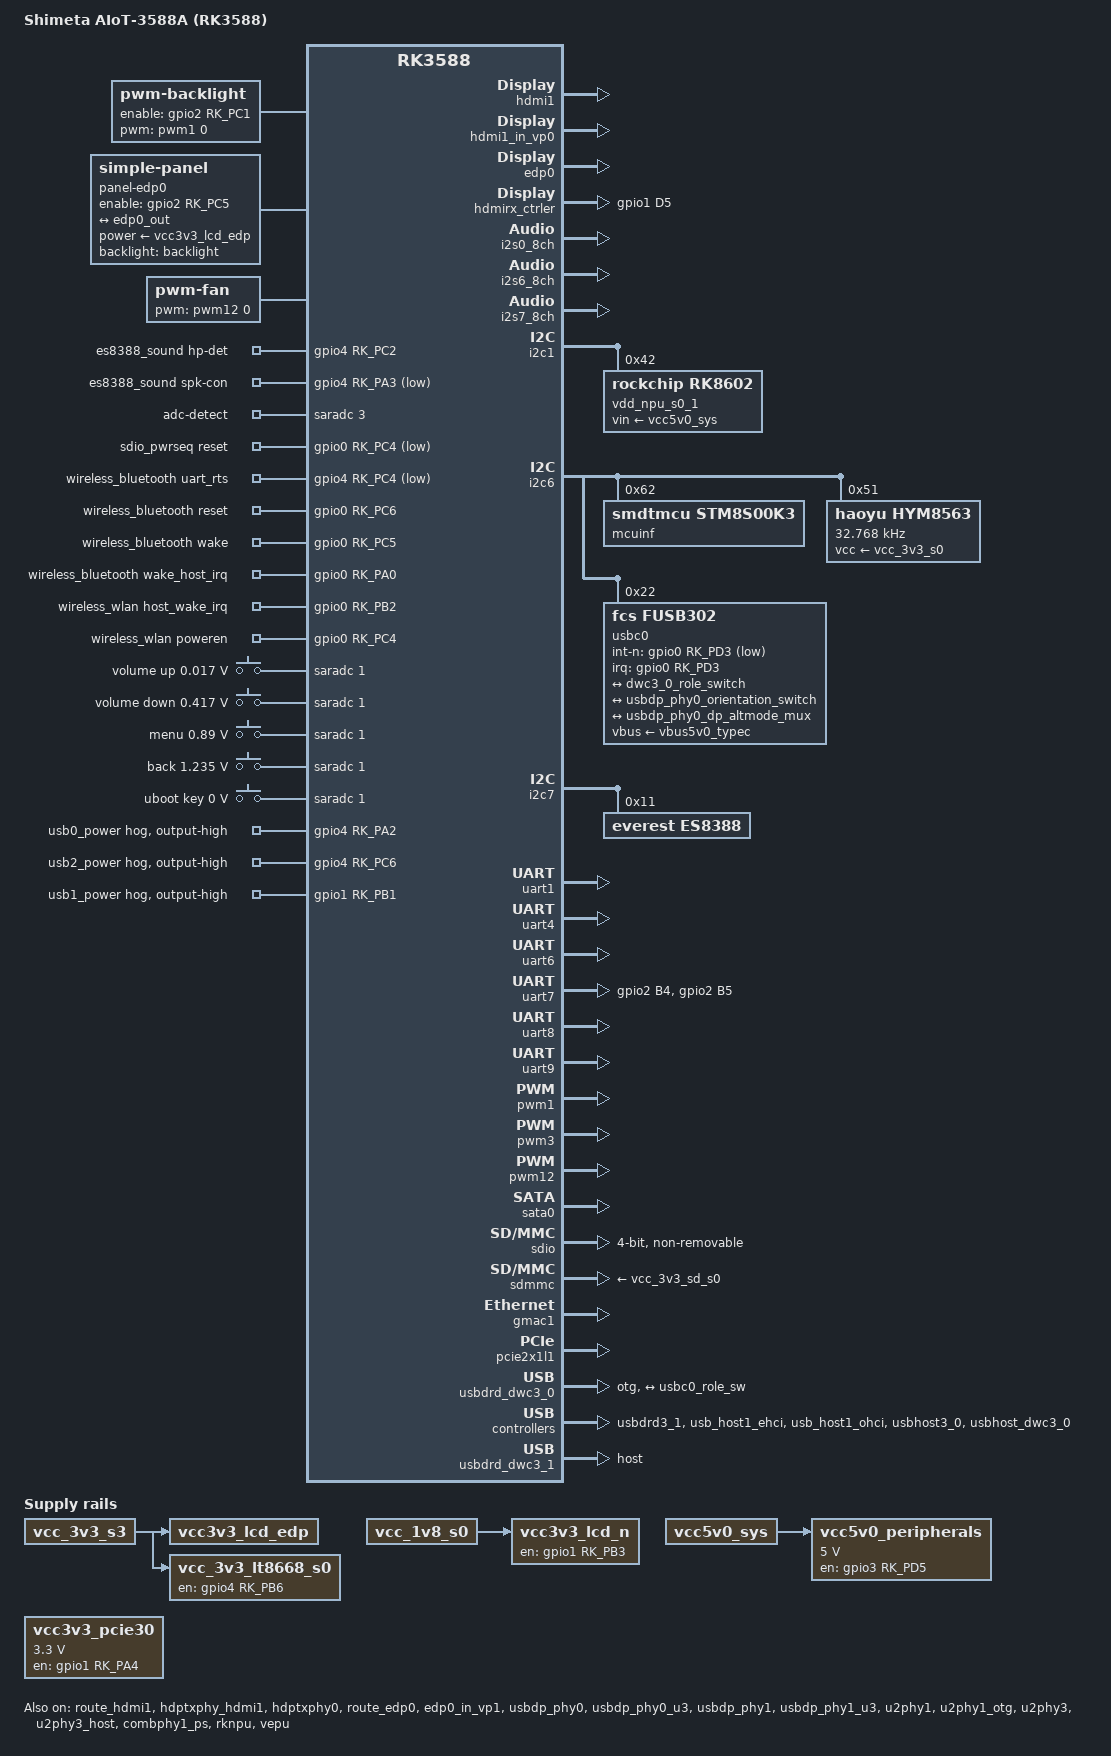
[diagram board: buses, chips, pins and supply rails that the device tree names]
// SPDX-License-Identifier: (GPL-2.0+ OR MIT)
/*
 * Copyright (c) 2022 FriendlyElec Computer Tech. Co., Ltd.
 * (http://www.friendlyelec.com)
 *
 * ============================================================================
 *  视美泰 AIOT-3588A（zeroT1）板级设备树
 * ============================================================================
 *
 * 底稿：FriendlyElec NanoPi6/NanoPC-T6 官方 DTS
 *   - rk3588-nanopi6-common.dtsi（与 rk3588-nanopi6-rev01.dts 共用的板级公共文件）
 *   - 写法完全仿照 rk3588-nanopi6-rev01.dts：include rk3588.dtsi + nanopi6-common.dtsi，
 *     然后只写「本板与 nanopi6 的差异」。
 *
 * 设计原则：
 *   1. 能用底稿直接继承的全部继承，不在本文件重复打开：
 *      GPU / VPU / NPU / RGA / JPEG / VENC / VDEC / AV1 / PMIC(RK806) / CPU 供电 /
 *      VOP / VP0-3 平面分配 / 互连(saradc,tsadc,wdt,dfi,dmc,rng,crypto) 等，
 *      一律沿用 rk3588-nanopi6-common.dtsi 的原始配置，保证 GPU/VPU/NPU 功能正常。
 *   2. 本文件只写差异，且优先用「改引脚 / 改 i2c / 改 pwm / 换 vp 节点 / 换 phy 节点」；
 *   3. 底稿里有、本板没有、必须关掉的节点，逐个在节点上方写「关闭理由」；
 *   4. 底稿没有、本板有的功能（eDP 屏、ES8388、5 路串口、风扇、背光、HDMI IN），
 *      按底稿风格补齐。
 *
 * ---------------------------------------------------------------------------
 *  与 nanopi6 底稿的差异总表
 * ---------------------------------------------------------------------------
 *  显示：
 *    - 本板是 1920x1080 eDP 屏：VP1 + hdptxphy0 + edp0 + simple-panel
 *      （nanopi6 底稿没有 eDP 屏，hdptxphy0 在底稿里是 status=disabled）
 *    - 本板 HDMI OUT 走 HDMI1（VP0 + hdptxphy_hdmi1，enable=GPIO4_A0）；
 *      底稿走 HDMI0（GPIO4_PB6 enable）→ HDMI0 必须禁用，理由见 &hdmi0 处
 *    - 背光：底稿 pwm_backlight 禁用；本板 PWM1 周期 20us + GPIO2_PC1 使能
 *  音频：
 *    - ES8388 声卡：i2c7 + i2s0_8ch，耳机检测 GPIO4_C2，功放使能 GPIO4_A3 低有效
 *    - HDMI IN 声卡：i2s7_8ch + hdmirx（底稿没有）
 *    - HDMI1 声卡：i2s6_8ch + hdmi1（底稿是 HDMI0 声卡）
 *  无线：
 *    - AP6256：BT 走 uart9（ttyS9）+ GPIO0_PC6 复位；WiFi 走 SDIO + sdio_pwrseq
 *      （与底稿同款模块，属性名沿用本 BSP 认的下划线写法）
 *  串口（本板 5 路，官方 2023/2024 固件一致）：
 *    - TTL-1 /dev/ttyS1 = uart1（uart1m1）
 *    - TTL-2 /dev/ttyS4 = uart4（uart4m0）
 *    - RS485 /dev/ttyS8 = uart8（uart8m0）
 *    - RS232-4 /dev/ttyS6 = uart6（uart6m1）
 *    - RS232-5 /dev/ttyS7 = uart7（uart7m0，6.1 dtsi 缺该引脚组，板级补）
 *  电源 / 外设：
 *    - NPU 电源：底稿在 i2c2，本板在 i2c1（内容相同，换总线）
 *    - RTC hym8563：底稿带 GPIO0_PB0 中断，本板中断未接 → 去掉中断
 *    - SD 卡电源使能：底稿 GPIO4_B4，本板 GPIO0_B7
 *    - USB-C VBUS 使能：底稿 GPIO1_D2（与 uart4 抢脚），本板 GPIO4_A1
 *    - 电池：底稿 simple_bat/simple_vin（nanopi6 电池 ADC），本板是假电池
 *      （内核 CONFIG_TEST_POWER），两颗都禁用，避免 ADC2 悬空读数串到电池框
 *  必须关闭的底稿节点（理由逐条写在节点旁）：
 *    - hdmi0 / hdmi0_in_vp0 / hdmi0_sound / hdptxphy_hdmi0 / route_hdmi0
 *    - pcie2x1l0 / pcie2x1l1 / pcie2x1l2 / pcie3x4 / pcie30phy
 *    - i2c2（NPU 电源已改 i2c1，且本板 i2c2 无器件）
 *    - i2c4 / i2c5（本板无 I2C 传感器/触摸屏，触摸是 USB ILITEK）
 *    - dsi0 / dsi1（本板无 MIPI 屏）
 * ============================================================================
 */

/dts-v1/;

#include <dt-bindings/usb/pd.h>
#include <dt-bindings/gpio/gpio.h>
#include <dt-bindings/pwm/pwm.h>
#include <dt-bindings/pinctrl/rockchip.h>
#include <dt-bindings/input/rk-input.h>
#include <dt-bindings/display/drm_mipi_dsi.h>
#include <dt-bindings/display/rockchip_vop.h>
#include <dt-bindings/sensor-dev.h>

#include "rk3588.dtsi"
#include "rk3588-nanopi6-common.dtsi"

/ {
	model = "Shimeta AIoT-3588A (RK3588)";
	/* 保留 evb7 兼容串：厂商用户态工具历史上按它识别板型，多列一条零成本。 */
	compatible = "rockchip,rk3588-aiot3588a", "rockchip,rk3588-evb7-lp4-v10", "rockchip,rk3588";

	chosen {
		/* earlycon/console 与 nanopi6 底稿一致：debug 串口 = uart2（ttyFIQ0）。
		 * 底稿的 bootargs_ext（root=/dev/mmcblk2p8 rw rootfstype=ext4）是 nanopi6
		 * 直接 eMMC rootfs 的写法；本板是 Android（super 分区 + dm-verity），root
		 * 由 u-boot 拼 androidboot.* 决定，这个属性留着反而可能把根分区指错，删掉。
		 */
		bootargs = "earlycon=uart8250,mmio32,0xfeb50000 console=ttyFIQ0 irqchip.gicv3_pseudo_nmi=0";
		/delete-property/ bootargs_ext;
	};

	/* ========================================================================
	 * 背光（nanopi6 底稿的 pwm_backlight 是 disabled 的，本板自建）
	 * PWM1 周期 20000ns：占空比上限压到 80%。原厂固件用 25000ns（100%），
	 * 亮度拉满会触发背光保护直接黑屏，实测降到 20000ns 后满亮度正常。
	 * ======================================================================== */
	backlight: backlight {
		compatible = "pwm-backlight";
		brightness-levels = <
			  0  20  20  21  21  22  22  23
			 23  24  24  25  25  26  26  27
			 27  28  28  29  29  30  30  31
			 31  32  32  33  33  34  34  35
			 35  36  36  37  37  38  38  39
			 40  41  42  43  44  45  46  47
			 48  49  50  51  52  53  54  55
			 56  57  58  59  60  61  62  63
			 64  65  66  67  68  69  70  71
			 72  73  74  75  76  77  78  79
			 80  81  82  83  84  85  86  87
			 88  89  90  91  92  93  94  95
			 96  97  98  99 100 101 102 103
			104 105 106 107 108 109 110 111
			112 113 114 115 116 117 118 119
			120 121 122 123 124 125 126 127
			128 129 130 131 132 133 134 135
			136 137 138 139 140 141 142 143
			144 145 146 147 148 149 150 151
			152 153 154 155 156 157 158 159
			160 161 162 163 164 165 166 167
			168 169 170 171 172 173 174 175
			176 177 178 179 180 181 182 183
			184 185 186 187 188 189 190 191
			192 193 194 195 196 197 198 199
			200 201 202 203 204 205 206 207
			208 209 210 211 212 213 214 215
			216 217 218 219 220 221 222 223
			224 225 226 227 228 229 230 231
			232 233 234 235 236 237 238 239
			240 241 242 243 244 245 246 247
			248 249 250 251 252 253 254 255
		>;
		default-brightness-level = <80>;
		backlight_delayms = <10>;
		pwms = <&pwm1 0 20000 0>;
		status = "okay";
		pinctrl-names = "default";
		pinctrl-0 = <&backlight_edp>;
		enable-gpios = <&gpio2 RK_PC1 GPIO_ACTIVE_HIGH>;
	};

	/* ========================================================================
	 * eDP 面板：1920x1080@60，139MHz
	 * 底稿没有这一段（nanopi6 用 HDMI / MIPI DSI）。
	 * panel-simple 驱动读 connector-type/bpc；缺省 connector_type=0 会
	 * fallback 成 DPI（DRM_MODE_CONNECTOR_eDP=14，旧底稿写的 15 是 VIRTUAL）。
	 * ======================================================================== */
	panel-edp0 {
		compatible = "simple-panel";
		connector-type = <14>;
		bpc = <8>;

		backlight = <&backlight>;
		power-supply = <&vcc3v3_lcd_edp>;
		enable-gpios = <&gpio2 RK_PC5 GPIO_ACTIVE_HIGH>;
		prepare-delay-ms = <120>;
		enable-delay-ms = <120>;
		unprepare-delay-ms = <120>;
		disable-delay-ms = <120>;
		width-mm = <129>;
		height-mm = <171>;

		panel-timing {
			clock-frequency = <139000000>;
			hactive = <1920>;
			vactive = <1080>;
			hfront-porch = <40>;
			hsync-len = <20>;
			hback-porch = <100>;
			vfront-porch = <12>;
			vsync-len = <4>;
			vback-porch = <15>;
			hsync-active = <0>;
			vsync-active = <0>;
			de-active = <0>;
			pixelclk-active = <0>;
		};

		port {
			panel_in_edp0: endpoint {
				remote-endpoint = <&edp0_out>;
			};
		};
	};

	/* ========================================================================
	 * 风扇：pwm-fan，PWM12 通道 1（GPIO4_B5），低电平有效。
	 * 底稿 rev01 的风扇用的是 pwm1（NanoPC-T6 接法），本板硬件是 pwm12，
	 * 与官方 2023/2024 AIOT-3588A DTB 反编译结果一致（pwm@febf0000）。
	 * cooling-levels 用官方固件的 0/102/170/230。
	 * ======================================================================== */
	fan: pwm-fan {
		compatible = "pwm-fan";
		#cooling-cells = <2>;
		pwms = <&pwm12 0 50000 PWM_POLARITY_INVERTED>;
		cooling-levels = <0 102 170 230>;
		rockchip,temp-trips = <
			50000	1
			55000	2
			60000	3
			65000	4
		>;
	};

	/* ========================================================================
	 * 音频 —— ES8388（耳机 + 功放喇叭）
	 * 底稿没有 ES8388（nanopi6 用 rt5616，且在 i2c7 上）。本板：
	 *   codec   : es8388@11（i2c7）
	 *   数据    : i2s0_8ch
	 *   耳机检测: GPIO4_C2 高有效 + SARADC3
	 *   功放使能: GPIO4_A3 低有效（写反 = 喇叭常静音，实机验证过）
	 * ======================================================================== */
	es8388_sound: es8388-sound {
		status = "okay";
		compatible = "rockchip,multicodecs-card";
		rockchip,card-name = "rockchip-es8388";
		hp-det-gpio = <&gpio4 RK_PC2 GPIO_ACTIVE_HIGH>;
		io-channels = <&saradc 3>;
		io-channel-names = "adc-detect";
		keyup-threshold-microvolt = <1800000>;
		poll-interval = <100>;
		spk-con-gpio = <&gpio4 RK_PA3 GPIO_ACTIVE_LOW>;
		rockchip,pre-power-on-delay-ms = <30>;
		rockchip,post-power-down-delay-ms = <40>;
		rockchip,format = "i2s";
		rockchip,mclk-fs = <256>;
		rockchip,cpu = <&i2s0_8ch>;
		rockchip,codec = <&es8388>;
		rockchip,audio-routing =
			"Headphone", "LOUT1",
			"Headphone", "ROUT1",
			"Speaker", "LOUT2",
			"Speaker", "ROUT2",
			"Headphone", "Headphone Power",
			"Headphone", "Headphone Power",
			"Speaker", "Speaker Power",
			"Speaker", "Speaker Power",
			"LINPUT1", "Main Mic",
			"LINPUT2", "Main Mic",
			"RINPUT1", "Headset Mic",
			"RINPUT2", "Headset Mic";
		pinctrl-names = "default";
		pinctrl-0 = <&hp_det>;
		play-pause-key {
			label = "playpause";
			linux,code = <KEY_PLAYPAUSE>;
			press-threshold-microvolt = <2000>;
		};
	};

	/* ========================================================================
	 * 音频 —— HDMI IN（采集）
	 * 用 6.1 的 rockchip,hdmi machine 驱动（不是底稿的 simple-audio-card）：
	 * codec 直接是 hdmirx 的 DAI，能拿到 ELD / 实时采样率 / 插拔事件，
	 * 且采集方向能正确设上 mclk_rx。
	 * ======================================================================== */
	hdmiin-sound {
		compatible = "rockchip,hdmi";
		rockchip,mclk-fs = <128>;
		rockchip,format = "i2s";
		rockchip,bitclock-master = <&hdmirx_ctrler>;
		rockchip,frame-master = <&hdmirx_ctrler>;
		rockchip,card-name = "rockchip,hdmiin";
		rockchip,cpu = <&i2s7_8ch>;
		rockchip,codec = <&hdmirx_ctrler 0>;
		rockchip,jack-det;
	};

	/* ========================================================================
	 * 音频 —— HDMI1 输出（播放）
	 * 底稿的 hdmi0_sound 用 i2s5_8ch + hdmi0；本板 HDMI0 禁用，改 HDMI1 + i2s6_8ch。
	 * ======================================================================== */
	hdmi1_sound: hdmi1-sound {
		status = "okay";
		compatible = "rockchip,hdmi";
		rockchip,mclk-fs = <128>;
		rockchip,card-name = "rockchip-hdmi1";
		rockchip,cpu = <&i2s6_8ch>;
		rockchip,codec = <&hdmi1>;
		rockchip,jack-det;
	};

	/* ========================================================================
	 * 无线 —— SDIO WiFi 上电时序（与 nanopi6 同款 AP6256 模块）
	 * ======================================================================== */
	sdio_pwrseq: sdio-pwrseq {
		compatible = "mmc-pwrseq-simple";
		clocks = <&hym8563>;
		clock-names = "ext_clock";
		pinctrl-names = "default";
		pinctrl-0 = <&wifi_enable_h>;
		post-power-on-delay-ms = <200>;
		reset-gpios = <&gpio0 RK_PC4 GPIO_ACTIVE_LOW>;
	};

	/* ========================================================================
	 * 无线 —— 蓝牙（AP6256）
	 * 属性名必须是下划线形式（BT,reset_gpio / BT,wake_gpio / BT,wake_host_irq /
	 * uart_rts_gpios）：本 BSP 的 net/rfkill/rfkill-bt.c 只认这套老名字，
	 * 写成 mainline 的 "-gpios" 会被静默忽略，表现是蓝牙上不了电、唤醒失效。
	 *
	 * ★ 蓝牙 UART = uart9（/dev/ttyS9，pinctrl uart9m0）。
	 *   之前 ttyS9 不出现的根因不是 uart9 没开，而是底稿带进来的
	 *   vcc_mipidcphy0 稳压器把 GPIO2_C4（uart9m0_rx）当使能脚抢走了，
	 *   证据 dmesg: pin gpio2-20 already requested by vcc-mipidcphy0-regulator。
	 *   本次重构不再定义那颗稳压器（见本文件末尾"删除底稿多余 regulator"说明）。
	 * ======================================================================== */
	wireless_bluetooth: wireless-bluetooth {
		compatible = "bluetooth-platdata";
		clocks = <&hym8563>;
		clock-names = "ext_clock";
		uart_rts_gpios = <&gpio4 RK_PC4 GPIO_ACTIVE_LOW>;
		pinctrl-names = "default", "rts_gpio";
		pinctrl-0 = <&uart9m0_rtsn>, <&bt_reset_gpio>, <&bt_wake_gpio>, <&bt_irq_gpio>;
		pinctrl-1 = <&uart9_gpios>;
		BT,reset_gpio = <&gpio0 RK_PC6 GPIO_ACTIVE_HIGH>;
		BT,wake_gpio = <&gpio0 RK_PC5 GPIO_ACTIVE_HIGH>;
		BT,wake_host_irq = <&gpio0 RK_PA0 GPIO_ACTIVE_HIGH>;
		status = "okay";
	};

	wireless_wlan: wireless-wlan {
		compatible = "wlan-platdata";
		wifi_chip_type = "ap6398s";
		pinctrl-names = "default";
		pinctrl-0 = <&wifi_host_wake_irq>;
		WIFI,host_wake_irq = <&gpio0 RK_PB2 GPIO_ACTIVE_HIGH>;
		WIFI,poweren_gpio = <&gpio0 RK_PC4 GPIO_ACTIVE_HIGH>;
		status = "okay";
	};

	/* ========================================================================
	 * 按键 —— 板载五键走 SARADC 通道 1（电阻分压），不是 GPIO 按键。
	 * nanoPC-T6 底稿没有这段（NanoPC-T6 的按键是 GPIO 直连），照抄会丢键。
	 * ======================================================================== */
	adc_keys: adc-keys {
		compatible = "adc-keys";
		io-channels = <&saradc 1>;
		io-channel-names = "buttons";
		keyup-threshold-microvolt = <1800000>;
		poll-interval = <100>;
		status = "okay";

		vol-up-key {
			label = "volume up";
			linux,code = <KEY_VOLUMEUP>;
			press-threshold-microvolt = <17000>;
		};

		vol-down-key {
			label = "volume down";
			linux,code = <KEY_VOLUMEDOWN>;
			press-threshold-microvolt = <417000>;
		};

		menu-key {
			label = "menu";
			linux,code = <KEY_MENU>;
			press-threshold-microvolt = <890000>;
		};

		back-key {
			label = "back";
			linux,code = <KEY_BACK>;
			press-threshold-microvolt = <1235000>;
		};

		uboot-key {
			label = "uboot key";
			linux,code = <KEY_VOLUMEUP>;
			press-threshold-microvolt = <1>;
		};
	};

	/* ========================================================================
	 * 指示灯 —— 本板只有一颗双色 LED，接 GPIO4_A5（高=蓝，低=红）。
	 * 内核不接管，留给 GPIO_LED_Demo 从用户态 /sys/class/gpio 导出（sys=4*32+5=133）。
	 * 要恢复内核心跳灯把 status 改回 "okay" 即可。
	 * ======================================================================== */
	gpio_leds: gpio-leds {
		compatible = "gpio-leds";
		status = "disabled";

		work_led: work_led {
			linux,default-trigger = "heartbeat";
			gpios = <&gpio4 RK_PA5 GPIO_ACTIVE_HIGH>;
		};
	};

	/* ========================================================================
	 * 其它固定稳压器
	 * ======================================================================== */

	/* eDP 屏 3.3V */
	vcc3v3_lcd_edp: vcc3v3-lcd-edp {
		compatible = "regulator-fixed";
		regulator-name = "vcc3v3_lcd_edp";
		enable-active-high;
		regulator-boot-on;
		vin-supply = <&vcc_3v3_s3>;
	};

	/* PCIe 3.0 3.3V 电源。
	 * 本板无 PCIe 设备，但 r15 自包含 dts 一直带着这颗 regulator（从 nanopi6
	 * 底稿继承），其 GPIO1_A4 使能脚在 u-boot 扫描 kernel dtb 时会被 probe 并
	 * request。补回该节点做对照实验：验证重构版 eDP AUX 失败是否与这颗
	 * regulator 的 GPIO 初始化有关。
	 */
	vcc3v3_pcie30: vcc3v3-pcie30 {
		compatible = "regulator-fixed";
		regulator-name = "vcc3v3_pcie30";
		regulator-min-microvolt = <3300000>;
		regulator-max-microvolt = <3300000>;
		enable-active-high;
		gpios = <&gpio1 RK_PA4 GPIO_ACTIVE_HIGH>;
		startup-delay-us = <5000>;
	};

	/* LCD / eDP 面板 3.3V 使能：GPIO1_B3。
	 * 旧版自包含 dts 一直带着这个节点（抄 nanopi6 底稿的 vcc3v3-lcd0-n），
	 * 以 r15 为基准重构时被漏掉；少了它 GPIO1_B3 无人拉高，实测 eDP
	 * detect 时 AUX 读 DPCD 失败（failed to read max link rate）。
	 * 本板该脚为面板 3.3V load-switch 使能，保持 regulator-boot-on 以复现 r15 时序。
	 */
	vcc3v3_lcd_n: vcc3v3-lcd0-n {
		compatible = "regulator-fixed";
		regulator-name = "vcc3v3_lcd0_n";
		regulator-boot-on;
		enable-active-high;
		gpio = <&gpio1 RK_PB3 GPIO_ACTIVE_HIGH>;
		vin-supply = <&vcc_1v8_s0>;
	};

	/* 外设 5V（USB host、HDMI IN 等），使能 GPIO3_D5 */
	vcc5v0_peripherals: vcc5v0-peripherals {
		compatible = "regulator-fixed";
		regulator-name = "vcc5v0_peripherals";
		/* 旧版（eDP 正常）带 boot-on/always-on，重构时漏了这两个属性：
		 * GPIO3_D5 因此保持低电平，5V 外设电源被关断 —— USB 蜂鸣器不响、
		 * eDP 面板侧 5V 缺失导致 AUX 无应答，均由此引起。 */
		regulator-boot-on;
		regulator-always-on;
		regulator-min-microvolt = <5000000>;
		regulator-max-microvolt = <5000000>;
		enable-active-high;
		gpio = <&gpio3 RK_PD5 GPIO_ACTIVE_HIGH>;
		vin-supply = <&vcc5v0_sys>;
		pinctrl-names = "default";
		pinctrl-0 = <&vcc5v0_peripherals_en>;
	};

	/* LT8668（HDMI 转换芯片）3.3V，使能 GPIO4_PB6，常开 */
	vcc_3v3_lt8668_s0: vcc-3v3-lt8668-s0 {
		compatible = "regulator-fixed";
		regulator-name = "vcc_3v3_lt8668_s0";
		pinctrl-names = "default";
		pinctrl-0 = <&lt8668_pwr>;
		gpio = <&gpio4 RK_PB6 GPIO_ACTIVE_HIGH>;
		enable-active-high;
		regulator-boot-on;
		regulator-always-on;
		vin-supply = <&vcc_3v3_s3>;
	};
};

/* ============================================================================
 * 显示子系统
 * ----------------------------------------------------------------------------
 * 底稿的 display_subsystem clocks 指向 hdptxphy_hdmi0；本板 HDMI0 禁用、
 * HDMI1 启用，所以只保留 HDMI1 的 PHY PLL。
 * ============================================================================ */
&display_subsystem {
	/* 底稿 common.dtsi 给 display_subsystem 挂了 clocks=<&hdptxphy_hdmi0>（hdmi0_phy_pll）。
	 * 本板 HDMI0 禁用、HDMI1 改用 hdptxphy_hdmi1，但 r16 实测保留该项后 eDP 屏黑屏
	 * （fdec0000.edp: failed to read max link rate），r15 无此属性则正常，故整个删除。 */
	/delete-property/ clocks;
	/delete-property/ clock-names;
};

/* ============================================================================
 * HDMI 0 —— 关闭。
 * 理由（实测）：
 *   1) 本板 HDMI OUT 只有一路，物理接口走 HDMI1（对应 enable 脚 GPIO4_A0，
 *      官方 2023/2024 AIOT-3588A DTB 反编译也是 route-hdmi1 okay + route-hdmi0
 *      disabled）；
 *   2) 更关键：HDMI0 的 PHY 是 hdptxphy_hdmi0（hdmiphy@fed60000），
 *      与 eDP 用的 hdptxphy0（phy@fed60000）是同一颗 PHY 的两种工作模式，
 *      本板必须留给 eDP，两个节点同时 status=okay 会互相抢 PHY，eDP 黑屏。
 * ============================================================================ */
&hdmi0 {
	status = "disabled";
};

&hdmi0_in_vp0 {
	status = "disabled";
};

&hdmi0_sound {
	status = "disabled";
};

&hdptxphy_hdmi0 {
	status = "disabled";
};

&route_hdmi0 {
	status = "disabled";
};

/* ============================================================================
 * HDMI 1 —— 本板唯一的 HDMI OUT
 * VP0 + hdptxphy_hdmi1 + i2s6_8ch（音频见顶层 hdmi1_sound）
 * ============================================================================ */
&hdmi1 {
	enable-gpios = <&gpio4 RK_PA0 GPIO_ACTIVE_HIGH>;
	status = "okay";
};

&hdmi1_in_vp0 {
	status = "okay";
};

&route_hdmi1 {
	status = "okay";
	connect = <&vp0_out_hdmi1>;
};

&hdptxphy_hdmi1 {
	status = "okay";
};

/* ============================================================================
 * eDP 输出
 * ----------------------------------------------------------------------------
 * 1) phys / phy-names 不要覆盖：rk3588s.dtsi 已给 phys = <&hdptxphy0>, phy-names = "dp"。
 *    底稿写成 <&combphy2_psu PHY_TYPE_DP> 是错的，combphy2_psu 已被 usbhost3_0 当
 *    USB3 用，两处抢同一颗 PHY 会让其中一路 probe 失败。
 * 2) 不要自建 port@2 { reg = <1> }：dtsi 里已有 port@1 { reg = <1>; edp0_out: endpoint{} }，
 *    出现两个 (port=1, ep=0) 端点会让 drm_of_find_panel_or_bridge(..., 1, 0, ...) 先命中
 *    空端点 → -ENODEV → 面板拿不到 → 黑屏。正确做法是给已有的 edp0_out 补 remote-endpoint。
 * 3) force-hpd：面板是焊死的 eDP 屏，没有 HPD 引脚，必须强制当作已插入。
 * 4) ★ 黑屏根因：rk3588s.dtsi 的 hdptxphy0(phy@fed60000) 默认 status="disabled"，
 *    而 edp0 的 phys=<&hdptxphy0>。PHY 不 probe ⇒ analogix_dp 的 devm_phy_get(dev,"dp")
 *    返回 -EPROBE_DEFER ⇒ "rockchip-dp fdec0000.edp: no DP phy configured" 永久 deferred
 *    ⇒ 屏幕全黑。所以下面必须把 hdptxphy0 打开（底稿里它是 disabled + 带 training-table）。
 * 5) VP 分配：eDP → VP1（route.connect = vp1_out_edp0），HDMI1 → VP0。
 * ============================================================================ */
&hdptxphy0 {
	/* 底稿 common.dtsi 给 hdptxphy0 带了一份 training-table（HDMI 模式的 tx_drv_ctrl 表），
	 * 本板 eDP 屏不需要它；且 r16 实测它对 eDP AUX 链路有副作用（报告 failed to read
	 * max link rate → disconnected），这里删掉，恢复到 r15 的干净状态。 */
	/delete-property/ training-table;
	status = "okay";
};

&edp0 {
	force-hpd;
	status = "okay";
};

&edp0_out {
	remote-endpoint = <&panel_in_edp0>;
};

&route_edp0 {
	status = "okay";
	connect = <&vp1_out_edp0>;
};

&edp0_in_vp0 {
	status = "disabled";
};

&edp0_in_vp1 {
	status = "okay";
};

/* eDP1 不用（本板只有一路 eDP），dtsi 默认 disabled，显式写出来便于查找 */
&edp1 {
	status = "disabled";
};

/* ============================================================================
 * HDMI IN
 * ============================================================================ */
&hdmirx_ctrler {
	status = "okay";
	#sound-dai-cells = <1>;
	edid-version = <3>;
	hpd-trigger-level = <1>;
	hdmirx-det-gpios = <&gpio1 RK_PD5 GPIO_ACTIVE_LOW>;
	pinctrl-names = "default";
	pinctrl-0 = <&hdmim1_rx &hdmirx_det>;
};

/* ============================================================================
 * 音频 I2S
 * ============================================================================ */
&i2s0_8ch {
	status = "okay";
	pinctrl-names = "default";
	pinctrl-0 = <&i2s0_lrck &i2s0_sclk &i2s0_sdi0 &i2s0_sdo0>;
};

/* HDMI1 播放（i2s6_8ch 在 rk3588.dtsi 里默认 disabled） */
&i2s6_8ch {
	status = "okay";
};

/* HDMI IN 采集（i2s7_8ch，capture-only） */
&i2s7_8ch {
	status = "okay";
};

/* 底稿的 hdmi0_sound 用 i2s5_8ch；HDMI0 已禁用，i2s5 一并关掉 */
&i2s5_8ch {
	status = "disabled";
};

/* ============================================================================
 * I2C 总线
 * ============================================================================ */

/* i2c2 —— 关闭。
 * 理由：底稿把 NPU 电源 rk8602 挂在 i2c2（pinctrl i2c2m0_xfer），本板同一颗
 * rk8602 在 i2c1（pinctrl i2c1m2_xfer，见 &i2c1）—— 这是纯引脚/总线差异，
 * 电源芯片内容和电压范围完全相同。本板 i2c2 上没有其它器件，
 * 底稿那个 rk8602 节点保持 disabled 不 probe（也不占 i2c2 引脚）。
 */
&i2c2 {
	status = "disabled";
};

/* i2c1 —— NPU 电源（vdd_npu_s0 / vdd_npu_mem_s0）
 * 底稿在 i2c2 上，本板在 i2c1，内容与底稿 rk8602@42 完全一致：
 * 550-950mV、ramp 2300、suspend-voltage-selector 1。
 * 为了让 GPU/VPU/NPU 正常工作，这里必须真正 probe 成功（rknpu 的 supply 依赖它）。
 */
&i2c1 {
	status = "okay";
	pinctrl-names = "default";
	pinctrl-0 = <&i2c1m2_xfer>;

	vdd_npu_s0_1: vdd_npu_mem_s0_1: rk8602@42 {
		compatible = "rockchip,rk8602";
		reg = <0x42>;
		vin-supply = <&vcc5v0_sys>;
		regulator-compatible = "rk860x-reg";
		regulator-name = "vdd_npu_s0";
		regulator-min-microvolt = <550000>;
		regulator-max-microvolt = <950000>;
		regulator-ramp-delay = <2300>;
		rockchip,suspend-voltage-selector = <1>;
		regulator-boot-on;
		regulator-always-on;
		regulator-state-mem {
			regulator-off-in-suspend;
		};
	};
};

/* i2c4 —— 保持底稿的 disabled。
 * 理由：底稿在这条总线上挂了 MIPI 屏的触摸/光感/IMU（stk3332、icm42607），
 * 本板没有这些器件；而且 i2c4m1_xfer 的 GPIO4_C2 与耳机检测脚冲突
 * （官方 2023/2024 AIOT-3588A DTB 里 i2c4 也是 disabled）。
 */

/* i2c5 —— 保持底稿的 disabled。
 * 理由：底稿这里是 MIPI 屏的 goodix/hynitron I2C 触摸；本板触摸屏是 USB
 * ILITEK（/proc/bus/input/devices 里 ILITEK-TP），不需要 I2C 触摸。
 */

/* i2c6 —— RTC(hym8563) + 视美泰 MCU(mcuinf) + USB-C(fusb302)
 * 与底稿的差异：
 *   1) dtsi 的 i2c6 带 resets，本板实测复位后器件不响应，删除 resets；
 *   2) 底稿 hym8563 带 GPIO0_PB0 中断，本板 RTC 中断脚未接 → 去掉；
 *   3) 追加 mcuinf@62（视美泰 STM8 MCU）和 fusb302@22（USB-C 控制器）。
 */
&i2c6 {
	status = "okay";

	/delete-property/ resets;
	/delete-property/ reset-names;
	pinctrl-names = "default";
	pinctrl-0 = <&i2c6m0_xfer>;

	mcuinf: mcuinf@62 {
		compatible = "smdtmcu,STM8S00K3";
		status = "okay";
		reg = <0x62>;
		#pwm-cells = <2>;
	};

	/* 底稿 hym8563 带 pinctrl-0=<&rtc_int> + interrupt GPIO0_PB0；
	 * 本板 RTC 中断未接，去掉中断相关属性（label hym8563 由底稿定义，这里沿用）。 */
	hym8563@51 {
		compatible = "haoyu,hym8563";
		reg = <0x51>;
		#clock-cells = <0>;
		clock-frequency = <32768>;
		clock-output-names = "hym8563";
		/delete-property/ pinctrl-names;
		/delete-property/ pinctrl-0;
		/delete-property/ interrupt-parent;
		/delete-property/ interrupts;
		wakeup-source;
		vcc-supply = <&vcc_3v3_s0>;
	};

	/* PCA9555 只在 REV1.3 上贴片，本板没有 */
	pca9555: pca9555@20 {
		reg = <0x20>;
		compatible = "nxp,pca9555";
		status = "disabled";
		gpio-controller;
		vcc-supply = <&vcc_3v3_s0>;
		#gpio-cells = <2>;
	};

	usbc0: fusb302@22 {
		compatible = "fcs,fusb302";
		reg = <0x22>;
		interrupt-parent = <&gpio0>;
		interrupts = <RK_PD3 IRQ_TYPE_EDGE_FALLING>;
		int-n-gpios = <&gpio0 RK_PD3 GPIO_ACTIVE_LOW>;
		pinctrl-names = "default";
		pinctrl-0 = <&usbc0_int>;
		vbus-supply = <&vbus5v0_typec>;
		status = "okay";

		ports {
			#address-cells = <1>;
			#size-cells = <0>;

			port@0 {
				reg = <0>;
				usbc0_role_sw: endpoint@0 {
					remote-endpoint = <&dwc3_0_role_switch>;
				};
			};
		};

		usb_con: connector {
			compatible = "usb-c-connector";
			label = "USB-C";
			data-role = "dual";
			power-role = "dual";
			try-power-role = "sink";
			op-sink-microwatt = <1000000>;
			sink-pdos =
				<PDO_FIXED(5000, 3000, PDO_FIXED_USB_COMM)>;
			source-pdos =
				<PDO_FIXED(5000, 2000, PDO_FIXED_USB_COMM)>;

			altmodes {
				#address-cells = <1>;
				#size-cells = <0>;

				altmode@0 {
					reg = <0>;
					svid = <0xff01>;
					vdo = <0xffffffff>;
				};
			};

			ports {
				#address-cells = <1>;
				#size-cells = <0>;

				port@0 {
					reg = <0>;
					usbc0_orien_sw: endpoint {
						remote-endpoint = <&usbdp_phy0_orientation_switch>;
					};
				};

				port@1 {
					reg = <1>;
					dp_altmode_mux: endpoint {
						remote-endpoint = <&usbdp_phy0_dp_altmode_mux>;
					};
				};
			};
		};
	};
};

/* i2c7 —— ES8388 codec（底稿 i2c7 是 disabled 的 rt5616，本板启用 ES8388）
 * MCLK 用 rk3588s.dtsi 自带的 mclkout_i2s0（mclkout-i2s0@fd58c318，
 * compatible "rockchip,clk-out"，带 rockchip,bit-set-to-disable）。
 * 注意：MCLK 除了 CRU 门控，还有 SYS_GRF 的 to_io 栅极，这个节点就是干这个的，
 * 底稿原来的 clocks=<&cru I2S0_8CH_MCLKOUT> 写法 MCLK 到不了 codec（实测无声）。
 */
&i2c7 {
	status = "okay";
	pinctrl-names = "default";
	pinctrl-0 = <&i2c7m0_xfer>;

	es8388: es8388@11 {
		compatible = "everest,es8388", "everest,es8323";
		reg = <0x11>;
		clocks = <&mclkout_i2s0>;
		clock-names = "mclk";
		assigned-clocks = <&mclkout_i2s0>;
		assigned-clock-rates = <12288000>;
		pinctrl-names = "default";
		pinctrl-0 = <&i2s0_mclk>;
	};
};

/* i2c8 —— 保持底稿的 disabled（本板无器件） */

/* ============================================================================
 * 串口
 * ----------------------------------------------------------------------------
 * 硬件规格书 3.2.13 RS232 / 3.2.14 TTL / 3.2.15 RS485：
 *   序号1 TTL 串口-1 = /dev/ttyS1 = uart1（uart1m1: GPIO1_B6/RX, GPIO1_B7/TX）
 *   序号2 TTL 串口-2 = /dev/ttyS4 = uart4（uart4m0: GPIO1_D2/RX, GPIO1_D3/TX）
 *   序号3 RS485-3    = /dev/ttyS8 = uart8（uart8m0: GPIO4_B0/TX, GPIO4_B1/RX）
 *   序号4 RS232-4    = /dev/ttyS6 = uart6（uart6m1: GPIO1_A0/RX, GPIO1_A1/TX）
 *   序号5 RS232-5    = /dev/ttyS7 = uart7（uart7m0: GPIO2_B4/RX, GPIO2_B5/TX）
 *   蓝牙             = /dev/ttyS9 = uart9（uart9m0）
 * 官方 2023 / 2024 两版固件都启用这 6 路；底稿（nanopi6）只开了 uart6 等少数几路。
 * ★ 注意与 uart 抢脚的"假外设"：底稿带进来的 vcc_mipicsi0/vcc_mipicsi1
 *   （GPIO1_D2 / GPIO1_D3）和 vcc_mipidcphy0（GPIO2_C4）会 request uart4/uart9
 *   的引脚，导致 ttyS4/ttyS9 消失。本次重构不再定义这三颗稳压器。
 * ============================================================================ */
&uart1 {
	status = "okay";
	pinctrl-names = "default";
	pinctrl-0 = <&uart1m1_xfer>;
};

&uart4 {
	status = "okay";
	pinctrl-names = "default";
	pinctrl-0 = <&uart4m0_xfer>;
};

&uart6 {
	status = "okay";
	pinctrl-names = "default";
	pinctrl-0 = <&uart6m1_xfer>;
};

&uart7 {
	status = "okay";
	pinctrl-names = "default";
	pinctrl-0 = <&uart7m0_xfer>;
};

&uart8 {
	status = "okay";
	pinctrl-names = "default";
	pinctrl-0 = <&uart8m0_xfer>;
};

&uart9 {
	status = "okay";
	pinctrl-names = "default";
	pinctrl-0 = <&uart9m0_xfer &uart9m0_ctsn>;
};

/* ============================================================================
 * PWM
 * ============================================================================ */

/* PWM1 —— 背光（见顶层 backlight） */
&pwm1 {
	status = "okay";
};

/* PWM3 —— 红外遥控接收（remotectl-pwm）
 * 底稿（nanopi6）用 pwm3m0_pins + usercode 0xc43b，本板遥控器是
 * pwm3m3_pins + usercode 0xff00，键表按实机遥控器实测翻译。
 */
&pwm3 {
	compatible = "rockchip,remotectl-pwm";
	pinctrl-names = "default";
	pinctrl-0 = <&pwm3m3_pins>;
	status = "okay";
	remote_pwm_id = <3>;
	handle_cpu_id = <1>;
	remote_support_psci = <0>;

	ir_key1 {
		rockchip,usercode = <0xff00>;
		rockchip,key_table =
			<0xf0 0x74>, <0xad 0x66>, <0xef 0x8b>, <0xa7 0x71>,
			<0xa3 0x73>, <0xab 0x72>, <0xac 0x9e>, <0xa4 0xe8>,
			<0xb2 0x67>, <0xa5 0x6c>, <0xa8 0x69>, <0xa0 0x6a>,
			<0xa1 0xf0>, <0xa9 0x0f>, <0xee 0x68>, <0xed 0x6d>,
			<0xe8 0x02>, <0xe4 0x03>, <0xe0 0x04>, <0xe9 0x05>,
			<0xe5 0x06>, <0xe1 0x07>, <0xea 0x08>, <0xe6 0x09>,
			<0xe2 0x0a>, <0xe7 0x0b>, <0xeb 0x34>, <0xe3 0x6f>,
			<0xa6 0x77>, <0xaa 0xcf>, <0xec 0x1a2>, <0xaf 0x1a3>;
	};
};

/* PWM12 —— 风扇（见顶层 fan）
 * pinctrl-names 必须写 "active"：kernel-6.1/drivers/pwm/pwm-rockchip.c:2443
 * 用 pinctrl_lookup_state(pc->pinctrl, "active") 取引脚状态，取不到就
 * dev_err "No active pinctrl state" 并 probe 失败（pwm-fan 随即一直 deferred）。
 * dtsi 的 pwm12 节点本来就是 "active"，底稿里写成 "default" 才导致绑定失败。
 */
&pwm12 {
	pinctrl-names = "active";
	pinctrl-0 = <&pwm12m1_pins>;
	status = "okay";
};

/* ============================================================================
 * 存储 / 网络
 * ============================================================================ */

/* SATA0 —— 本板有一路 SATA（官方固件 sata@fe210000 okay），
 * PHY 用 combphy0_ps（rk3588s.dtsi 里 sata0 的 phys 已经写好，不用改）。
 * ★ 与 PCIe 二选一：pcie2x1l0 也用 combphy0_ps，所以下面把 pcie2x1l0 关掉。
 */
&sata0 {
	status = "okay";
};

/* SDIO —— WiFi（AP6256），与 nanopi6 同一套接法 */
&sdio {
	compatible = "rockchip,rk3588-dw-mshc", "rockchip,rk3288-dw-mshc";
	max-frequency = <150000000>;
	no-sd;
	no-mmc;
	bus-width = <4>;
	disable-wp;
	cap-sd-highspeed;
	cap-sdio-irq;
	keep-power-in-suspend;
	mmc-pwrseq = <&sdio_pwrseq>;
	non-removable;
	pinctrl-names = "default";
	pinctrl-0 = <&sdiom0_pins>;
	sd-uhs-sdr104;
	status = "okay";
};

/* SD 卡 —— 底稿的 &sdmmc 配置（pinctrl / vqmmc / 150MHz / sdr104）全部继承，
 * 只补一条本板的 vmmc 电源（底稿顶层 vcc_3v3_sd_s0 已定义，这里覆盖使能脚）。 */
&sdmmc {
	status = "okay";
	vmmc-supply = <&vcc_3v3_sd_s0>;
};

/* GMAC1 —— 千兆网口（RGMII）
 * 底稿 tx_delay 0x42，本板按实测改为 0x43；其余（phy-handle rgmii_phy1、
 * reset GPIO3_PB7、pinctrl）全部继承。
 */
&gmac1 {
	tx_delay = <0x43>;
	status = "okay";
};

/* ============================================================================
 * PCIe —— miniPCIe 座：可插 4G 模块（EC20，走 USB）或 2230 NVMe SSD（走 PCIe）
 *  - 2230 NVMe SSD 用 pcie2x1l1 + combphy1_ps：
 *    · pcie2x1l0 与 SATA0 共用 combphy0_ps（本板 SATA 在用，二选一）
 *    · pcie2x1l2 与 usbhost3_0 共用 combphy2_psu（本板 USB3 在用）
 *  - 继承底稿的 reset-gpios=GPIO1_PA7、vpcie3v3-supply=vcc_3v3_pcie20（无 GPIO 的
 *    always-on regulator-fixed）、rockchip,init-delay-ms=100；本板 GPIO1_PA7 未被占用
 *  - pcie3x4 / pcie30phy 保持关闭（本板无 PCIe3.0 x4 设备）
 * ============================================================================ */
&pcie2x1l0 {
	status = "disabled";
};

&pcie2x1l1 {
	status = "okay";
};

&pcie2x1l2 {
	status = "disabled";
};

&pcie3x4 {
	status = "disabled";
};

&pcie30phy {
	status = "disabled";
};

/* ============================================================================
 * USB
 * ============================================================================ */

/* Type-C（USB3.0 OTG + DP altmode 硬件存在，但本板只做 USB，不做 DP） */
&usbdrd_dwc3_0 {
	dr_mode = "otg";
	usb-role-switch;
	status = "okay";

	port {
		#address-cells = <1>;
		#size-cells = <0>;
		dwc3_0_role_switch: endpoint@0 {
			reg = <0>;
			remote-endpoint = <&usbc0_role_sw>;
		};
	};
};

&usbdp_phy0 {
	orientation-switch;
	rockchip,dp-lane-mux = <0 1 2 3 >;
	svid = <0xff01>;
	sbu1-dc-gpios = <&gpio4 RK_PA6 GPIO_ACTIVE_HIGH>;
	sbu2-dc-gpios = <&gpio4 RK_PA7 GPIO_ACTIVE_HIGH>;
	status = "okay";

	port {
		#address-cells = <1>;
		#size-cells = <0>;
		usbdp_phy0_orientation_switch: endpoint@0 {
			reg = <0>;
			remote-endpoint = <&usbc0_orien_sw>;
		};

		usbdp_phy0_dp_altmode_mux: endpoint@1 {
			reg = <1>;
			remote-endpoint = <&dp_altmode_mux>;
		};
	};
};

/* 本板 Type-C 只做 USB（不做 DP altmode），与原厂固件一致 */
&usbdp_phy0_dp {
	status = "disabled";
};

&usbdp_phy0_u3 {
	status = "okay";
};

/* USB3.1 Host（USB1）—— 底稿 rev01 打开，common.dtsi 没写，这里按 rev01 打开 */
&usbdp_phy1 {
	maximum-speed = "super-speed";
	rockchip,dp-lane-mux = <3 2 1 0>;
	status = "okay";
};

&usbdp_phy1_dp {
	status = "disabled";
};

&usbdp_phy1_u3 {
	status = "okay";
};

&usbdrd3_1 {
	status = "okay";
};

&usbdrd_dwc3_1 {
	dr_mode = "host";
	maximum-speed = "super-speed";
	status = "okay";
};

&u2phy1 {
	status = "okay";
};

&u2phy1_otg {
	status = "okay";
};

&u2phy3 {
	status = "okay";
};

&u2phy3_host {
	status = "okay";
};

&usb_host1_ehci {
	status = "okay";
};

&usb_host1_ohci {
	status = "okay";
};

/* USB3.0 Host（USB2 口，走 combphy2_psu）—— common.dtsi 里是 disabled，本板启用 */
&usbhost3_0 {
	status = "okay";
};

&usbhost_dwc3_0 {
	status = "okay";
};

/* 本板 pcie2x1l1 已关，combphy1_ps 作普通 combo PHY 保留给后续扩展 */
&combphy1_ps {
	status = "okay";
};

/* ============================================================================
 * NPU 供电重定向 —— ★ 关键
 * ----------------------------------------------------------------------------
 * nanopi6 底稿的 &rknpu 引用 <&vdd_npu_s0>，而那颗 rk8602 定义在底稿的
 * i2c2 上；本文件把 i2c2 关了、NPU 电源改到 i2c1（上面 &i2c1 里的
 * vdd_npu_s0_1）。如果这里不改，rknpu 的 supply 指向一个不会 probe 的
 * regulator（disabled 的 i2c2 子节点）→ rknpu 永久 deferred →
 * NPU 完全不可用。所以必须把 rknpu 的 supply 重定向到 i2c1 上的新 label。
 * vdd_vdenc/vdd_gpu 等其余媒体供电不受影响（它们来自 RK806，见 common.dtsi）。
 * ============================================================================ */
&rknpu {
	rknpu-supply = <&vdd_npu_s0_1>;
	mem-supply = <&vdd_npu_mem_s0_1>;
	status = "okay";
};

/* ============================================================================
 * 电池
 * ----------------------------------------------------------------------------
 * 底稿的 simple_bat + simple_vin 是 nanopi6 的电池 ADC 方案（saradc ch2）。
 * 本板是假电池（内核 CONFIG_TEST_POWER，test-power 节点由 common.dtsi 提供），
 * 而且 saradc ch2 在本板是悬空的，读出来会把"电池"电压拉成乱值，
 * 所以两颗都禁用。
 * ============================================================================ */
&simple_bat {
	status = "disabled";
};

&simple_vin {
	status = "disabled";
};

/* ============================================================================
 * 固定稳压器覆盖
 * ============================================================================ */

/* SD 卡 3.3V 使能：底稿 GPIO4_B4，本板 GPIO0_B7（pinctrl sd-s0-pwr 见 &pinctrl） */
&vcc_3v3_sd_s0 {
	gpio = <&gpio0 RK_PB7 GPIO_ACTIVE_HIGH>;
};

/* USB-C VBUS 5V 使能：底稿 GPIO1_PD2（与 uart4 抢脚），本板 GPIO4_A1 */
&vbus5v0_typec {
	gpio = <&gpio4 RK_PA1 GPIO_ACTIVE_HIGH>;
};

/* ============================================================================
 * GPIO HOG —— 三路 USB 端口供电使能
 * 没有做成 regulator 而是 GPIO 直控，必须在上电时就拉高（gpio-hog），
 * 否则 USB 设备不上电 —— 本板的 USB 触摸屏就挂在这几路电上。
 * ============================================================================ */
&gpio4 {
	usb0_power_hog: usb0-power-hog {
		gpio-hog;
		gpios = <RK_PA2 GPIO_ACTIVE_HIGH>;
		output-high;
		line-name = "usb0_power";
	};

	usb2_power_hog: usb2-power-hog {
		gpio-hog;
		gpios = <RK_PC6 GPIO_ACTIVE_HIGH>;
		output-high;
		line-name = "usb2_power";
	};
};

&gpio1 {
	usb1_power_hog: usb1-power-hog {
		gpio-hog;
		gpios = <RK_PB1 GPIO_ACTIVE_HIGH>;
		output-high;
		line-name = "usb1_power";
	};
};

/* ============================================================================
 * PINCTRL
 * ============================================================================ */
&pinctrl {
	/* nanopi6 底稿把 USB-C VBUS 使能放在 GPIO1_D2（pinctrl typec5v_pwren），
	 * 而本板 GPIO1_D2 是 RS232-4（/dev/ttyS4）的 uart4m0_rx —— 两边都 request
	 * 会报 "pin gpio1-26 already requested by ..."，ttyS4 消失。
	 * 本板实际 VBUS 使能是 GPIO4_A1，这里覆盖掉底稿的引脚定义。
	 */
	usb {
		typec5v-pwren {
			rockchip,pins = <4 RK_PA1 RK_FUNC_GPIO &pcfg_pull_none>;
		};

		vcc5v0_peripherals_en: vcc5v0-peripherals-en {
			rockchip,pins = <3 RK_PD5 RK_FUNC_GPIO &pcfg_pull_none>;
		};
	};

	/* 同上：底稿 SD 卡电源使能 = GPIO4_B4，本板是 GPIO0_B7（与厂商 5.10 DTB 一致） */
	sdmmc {
		sd-s0-pwr {
			rockchip,pins = <0 RK_PB7 RK_FUNC_GPIO &pcfg_pull_up>;
		};
	};

	/* 背光使能：GPIO2_PC1（上拉，避免复位瞬间闪屏） */
	backlight {
		backlight_edp: backlight-edp {
			rockchip,pins = <2 RK_PC1 RK_FUNC_GPIO &pcfg_pull_up>;
		};
	};

	/* LT8668 HDMI 转换芯片电源使能：GPIO4_PB6 */
	lt8668 {
		lt8668_pwr: lt8668-pwr {
			rockchip,pins = <4 RK_PB6 RK_FUNC_GPIO &pcfg_pull_up>;
		};
	};

	/* HDMI IN 插入检测：GPIO1_PD5（低有效）。dtsi 只给了 hdmim1_rx 数据组 */
	hdmi {
		hdmirx_det: hdmirx-det {
			rockchip,pins = <1 RK_PD5 RK_FUNC_GPIO &pcfg_pull_up>;
		};
	};

	/* 耳机检测：GPIO4_C2（往上拉） */
	headphone {
		hp_det: hp-det {
			rockchip,pins = <4 RK_PC2 RK_FUNC_GPIO &pcfg_pull_none>;
		};
	};

	/* SDIO WiFi 上电时序 */
	sdio-pwrseq {
		wifi_enable_h: wifi-enable-h {
			rockchip,pins = <0 RK_PC4 RK_FUNC_GPIO &pcfg_pull_up>;
		};
	};

	/* 蓝牙：复位/唤醒/中断/WiFi 唤醒 */
	wireless-bluetooth {
		uart9_gpios: uart9-gpios {
			rockchip,pins = <4 RK_PC4 RK_FUNC_GPIO &pcfg_pull_none>;
		};

		bt_reset_gpio: bt-reset-gpio {
			rockchip,pins = <0 RK_PC6 RK_FUNC_GPIO &pcfg_pull_none>;
		};

		bt_wake_gpio: bt-wake-gpio {
			rockchip,pins = <0 RK_PC5 RK_FUNC_GPIO &pcfg_pull_none>;
		};

		bt_irq_gpio: bt-irq-gpio {
			rockchip,pins = <0 RK_PA0 RK_FUNC_GPIO &pcfg_pull_none>;
		};
	};

	wireless-wlan {
		wifi_host_wake_irq: wifi-host-wake-irq {
			rockchip,pins = <0 RK_PB2 RK_FUNC_GPIO &pcfg_pull_down>;
		};
	};

	/* RK3588 6.1 的 rk3588s-pinctrl.dtsi 只定义了 uart7 的 m1/m2 两组，
	 * 缺 m0；而本板 RS232-5（/dev/ttyS7）用的正是 m0 = GPIO2_B4/B5，
	 * 与官方 2023/2024 5.10 DTB 反编译出的 uart7m0-xfer 一致，故在板级补上。 */
	uart7 {
		uart7m0_xfer: uart7m0-xfer {
			rockchip,pins =
				/* uart7_rx_m0 */
				<2 RK_PB4 10 &pcfg_pull_up>,
				/* uart7_tx_m0 */
				<2 RK_PB5 10 &pcfg_pull_up>;
		};
	};

	/* 视美泰 smdtio 用户态工具用的 GPIO 组（GPIO1 与 GPIO4 各几根）。
	 * 设备节点在 vendor 侧驱动里按名字取，这里保持与厂商风格一致。 */
	smdtio {
		smdtio_gpio: smdtio-gpio {
			rockchip,pins = <1 0x16 RK_FUNC_GPIO &pcfg_pull_up>,
					<1 0x08 RK_FUNC_GPIO &pcfg_pull_up>,
					<1 0x0d RK_FUNC_GPIO &pcfg_pull_up>,
					<1 0x0c RK_FUNC_GPIO &pcfg_pull_up>,
					<4 0x0a RK_FUNC_GPIO &pcfg_pull_up>;
		};
	};
};

/* VPU 编码器（H.265/H.264 encode）：重构时从旧 DTS 漏掉 &vepu 的 okay，
 * nanopi6-common.dtsi 里没有启用它（只有 rkvdec 解码器链），这里补上。 */
&vepu {
	status = "okay";
};

/* VOP 时钟与多区域：
 * - common.dtsi 写 800MHz，但 RK3588 的 ACLK_VOP 上限 750MHz，设置失败后内核
 *   回退；旧版（eDP 正常）直接写 750MHz，这里对齐。
 * - support-multi-area 是 android.dtsi 注入的 VOP 多区域叠加模式，旧版没有；
 *   为隔离 eDP AUX 读 DPCD 失败是否由它引起，先删掉，验证后再定是否恢复。 */
&vop {
	assigned-clock-rates = <750000000>;
	/delete-property/ support-multi-area;
};

/* PMIC 的 DVS 引脚配置：旧版（eDP 正常）自包含 DTS 按 Rockchip demo 风格把
 * DVS1/2/3 全部设为 pin_fun0（null），完全由 SPI 软件控制 PMIC；而底稿
 * rk3588-rk806-single.dtsi 只配了 pmic_pins，DVS/PWRCTRL 引脚停留在默认状态。
 * 这是重构 DTS 与旧版在 PMIC 上唯一的驱动可见差异，先对齐旧版验证。 */
&rk806single {
	pinctrl-names = "default", "pmic-power-off";
	pinctrl-0 = <&pmic_pins>, <&rk806_dvs1_null>, <&rk806_dvs2_null>, <&rk806_dvs3_null>;
	pinctrl-1 = <&rk806_dvs1_pwrdn>;
};
